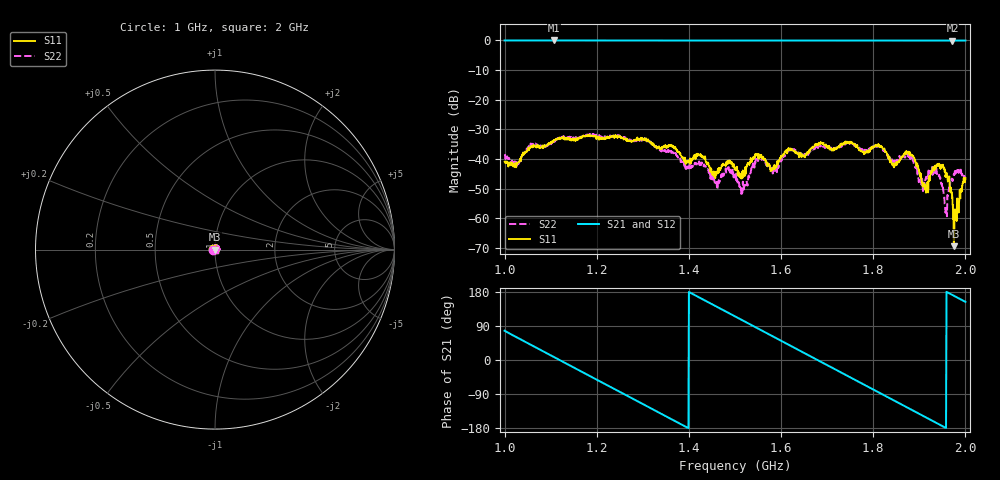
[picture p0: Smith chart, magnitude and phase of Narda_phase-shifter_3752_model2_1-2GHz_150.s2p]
#  HZ  S  DB  R  50.00
! Rohde & Schwarz Vector Network Analyzer
! Rohde-Schwarz,ZNB8-4Port,1311601044102961,2.82
! Created: UTC 1/17/2019, 2:36:49 PM
! freq[Hz]  db:S11  ang:S11  db:S21  ang:S21  db:S12  ang:S12  db:S22  ang:S22
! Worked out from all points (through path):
!   1001 points, 1 GHz to 2 GHz, reference 50 ohm
!   highest |S21| = -0.07 dB at 1.108 GHz (marker M1); lowest = -0.1 dB at 1.972 GHz (marker M2)
!   group delay of S21, straight-line fit = 1.79 ns
!   lowest |S11| = -69.4 dB at 1.975 GHz (marker M3), VSWR 1.00, Z = 50 + j0.0319 ohm
!   |S11| at or under -10 dB: start of sweep to end of sweep
!   |S22| runs from -59.3 to -31.6 dB; largest |S21 - S12| = 0.011
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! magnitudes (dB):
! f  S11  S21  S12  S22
! 1 GHz  -40.9  -0.1  -0.1  -38.9
! 1.029 GHz  -41.3  -0.1  -0.1  -41.2
! 1.108 GHz  -33.6  -0.1  -0.1  -33.5
! 1.167 GHz  -32.9  -0.1  -0.1  -32.6
! 1.334 GHz  -36.2  -0.1  -0.1  -36.7
! 1.46 GHz  -44.3  -0.1  -0.1  -47.8
! 1.5 GHz  -43.5  -0.1  -0.1  -46.0
! 1.518 GHz  -44.9  -0.1  -0.1  -48.9
! 1.55 GHz  -38.6  -0.1  -0.1  -40.7
! 1.581 GHz  -43.1  -0.1  -0.1  -43.6
! 1.618 GHz  -36.9  -0.1  -0.1  -36.8
! 1.667 GHz  -36.3  -0.1  -0.1  -37.0
! 1.808 GHz  -35.4  -0.1  -0.1  -35.8
! 1.834 GHz  -39.7  -0.1  -0.1  -39.0
! 1.882 GHz  -38.4  -0.1  -0.1  -39.4
! 1.914 GHz  -50.4  -0.1  -0.1  -46.6
! 1.932 GHz  -43.9  -0.1  -0.1  -43.1
! 1.949 GHz  -42.4  -0.1  -0.1  -48.3
! 1.958 GHz  -45.0  -0.1  -0.1  -57.4
! 1.972 GHz  -54.4  -0.1  -0.1  -47.5
! 1.975 GHz  -69.4  -0.1  -0.1  -45.1
! 2 GHz  -46.5  -0.1  -0.1  -47.0
